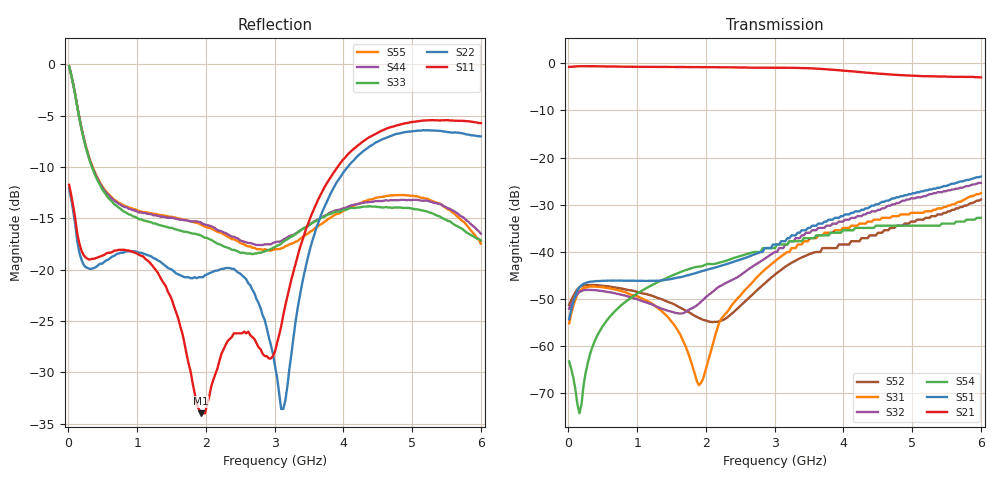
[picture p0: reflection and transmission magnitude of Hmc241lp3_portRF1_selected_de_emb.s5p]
! Hittite Microwave Corporation
! 20 Alpha Road
! Chelmsford, MA 01824
! Tel: 978-250-3343
! Fax: 978-250-3373
! Device: HMC241LP3, DC-4 GHz, High Isolation SP4T Non-Reflective Switch in leadless QFN SMT package
! Misc: Port 1 = RFCom
!  Port 2 = RF1
!  Port 3 = RF2
!  Port 4 = RF3
!  Port 5 = RF4
!  Vdd  = + 5 V
!  RF1 selected, Vctl= 0/+5 V
!  Data reformated to new Touchstone file format - Tue Jan 09 08:03:11 2007
# MHz S DB R 50
! 5 Port Network Data
! freq  dbS11  angS11  dbS12  angS12  dbS13  angS13  dbS14  angS14
!  dbS15  angS15
!  dbS21  angS21  dbS22  angS22  dbS23  angS23
!  dbS24  angS24  dbS25  angS25
!  dbS31  angS31  dbS32  angS32
!  dbS33  angS33  dbS34  angS34  dbS35  angS35
!  dbS41  angS41
!  dbS42  angS42  dbS43  angS43  dbS44  angS44  dbS45  angS45
!  dbS51  angS51  dbS52  angS52  dbS53  angS53  dbS54  angS54
!  dbS55  angS55
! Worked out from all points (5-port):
!   201 points, 10 MHz to 6 GHz, reference 50 ohm
!   strongest paths, dB at 10 MHz, 1.508 GHz, 3.005 GHz, 4.503 GHz, 6 GHz:
!     S21: -0.8, -0.8, -0.9, -2.2, -3.0
!     S51: -54.2, -45.7, -38.4, -29.9, -24.0
!     S54: -63.2, -45.0, -39.2, -34.4, -32.8
!     S32: -52.0, -52.7, -40.0, -31.1, -25.4
!     S31: -55.1, -54.8, -41.9, -33.2, -27.5
!     S52: -51.2, -50.9, -44.8, -35.9, -28.9
!   lowest |S11| = -34.0 dB at 1.927 GHz (marker M1), VSWR 1.04, Z = 50.7 - j1.9 ohm
!   |S11| at or under -10 dB: start of sweep to 3.915 GHz
